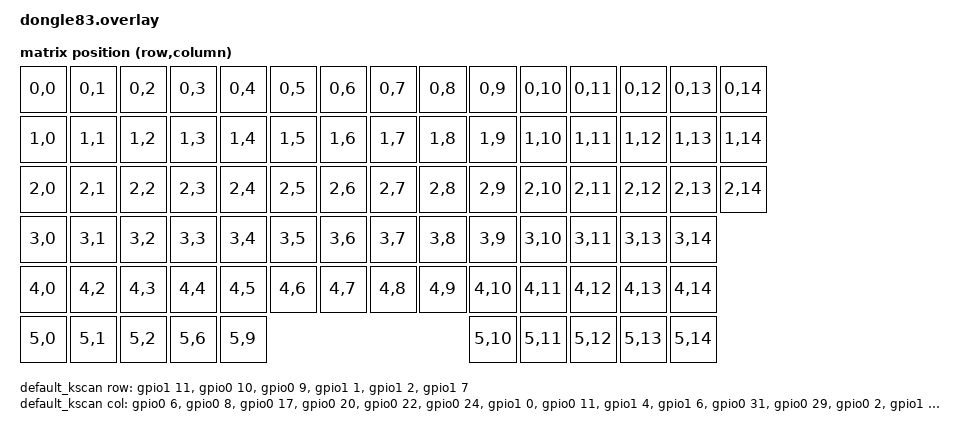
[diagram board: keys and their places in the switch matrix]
#include <dt-bindings/zmk/matrix_transform.h>

/ {
    chosen {
        zmk,kscan = &default_kscan;
        zmk,matrix_transform = &default_transform;
    };

    default_kscan: kscan {
        compatible = "zmk,kscan-gpio-matrix";
        label = "default_kscan";
        diode-direction = "col2row";
        wakeup-source;

        row-gpios
            = <&gpio1 11 (GPIO_ACTIVE_HIGH | GPIO_PULL_DOWN)>
            , <&gpio0 10 (GPIO_ACTIVE_HIGH | GPIO_PULL_DOWN)>
            , <&gpio0 9 (GPIO_ACTIVE_HIGH | GPIO_PULL_DOWN)>
            , <&gpio1 1 (GPIO_ACTIVE_HIGH | GPIO_PULL_DOWN)>
            , <&gpio1 2 (GPIO_ACTIVE_HIGH | GPIO_PULL_DOWN)>
            , <&gpio1 7 (GPIO_ACTIVE_HIGH | GPIO_PULL_DOWN)>
            ;

        col-gpios
            = <&gpio0 6 GPIO_ACTIVE_HIGH>
            , <&gpio0 8 GPIO_ACTIVE_HIGH>
            , <&gpio0 17 GPIO_ACTIVE_HIGH>
            , <&gpio0 20 GPIO_ACTIVE_HIGH>
            , <&gpio0 22 GPIO_ACTIVE_HIGH>
            , <&gpio0 24 GPIO_ACTIVE_HIGH>
            , <&gpio1 0 GPIO_ACTIVE_HIGH>
            , <&gpio0 11 GPIO_ACTIVE_HIGH>
            , <&gpio1 4 GPIO_ACTIVE_HIGH>
            , <&gpio1 6 GPIO_ACTIVE_HIGH>
            , <&gpio0 31 GPIO_ACTIVE_HIGH>
            , <&gpio0 29 GPIO_ACTIVE_HIGH>
            , <&gpio0 2 GPIO_ACTIVE_HIGH>
            , <&gpio1 15 GPIO_ACTIVE_HIGH>
            , <&gpio1 13 GPIO_ACTIVE_HIGH>
            ;


    };


	default_transform: keymap_transform_0 {
		compatible = "zmk,matrix-transform";
		columns = <15>;
		rows = <6>;
// | SW1  | SW2  | SW3  | SW4  | SW5  | SW6  |   | SW7  | SW8  | SW9  | SW10 | SW11 | SW12 | SW13 | SW14 | SW15 |
// | SW16 | SW17 | SW18 | SW19 | SW20 | SW21 |   | SW22 | SW23 | SW24 | SW25 | SW26 | SW27 | SW28 | SW29 | SW30 |
// | SW31 | SW32 | SW33 | SW34 | SW35 | SW36 |   | SW37 | SW38 | SW39 | SW40 | SW41 | SW42 | SW43 | SW44 | SW45 |
// | SW46 | SW47 | SW48 | SW49 | SW50 | SW51 |   | SW52 | SW53 | SW54 | SW55 | SW56 | SW57 | SW58 | SW59 |
// | SW60 | SW61 | SW62 | SW63 | SW64 | SW65 |   | SW66 | SW67 | SW68 | SW69 | SW70 | SW71 | SW72 | SW73 |
// | SW74 | SW75 | SW76 | SW77 | SW78 | SW79 |                        | SW80 | SW81 | SW82 | SW83 |
		map = <
RC(0,0) RC(0,1) RC(0,2) RC(0,3) RC(0,4) RC(0,5)  RC(0,6) RC(0,7) RC(0,8) RC(0,9) RC(0,10) RC(0,11) RC(0,12) RC(0,13) RC(0,14)
RC(1,0) RC(1,1) RC(1,2) RC(1,3) RC(1,4) RC(1,5)  RC(1,6) RC(1,7) RC(1,8) RC(1,9) RC(1,10) RC(1,11) RC(1,12) RC(1,13) RC(1,14)
RC(2,0) RC(2,1) RC(2,2) RC(2,3) RC(2,4) RC(2,5)  RC(2,6) RC(2,7) RC(2,8) RC(2,9) RC(2,10) RC(2,11) RC(2,12) RC(2,13) RC(2,14)
RC(3,0) RC(3,1) RC(3,2) RC(3,3) RC(3,4) RC(3,5)  RC(3,6) RC(3,7) RC(3,8) RC(3,9) RC(3,10) RC(3,11) RC(3,13) RC(3,14)
RC(4,0) RC(4,2) RC(4,3) RC(4,4) RC(4,5) RC(4,6)  RC(4,7) RC(4,8) RC(4,9) RC(4,10) RC(4,11) RC(4,12) RC(4,13) RC(4,14)
RC(5,0) RC(5,1) RC(5,2)                        RC(5,6)           RC(5,9) RC(5,10) RC(5,11) RC(5,12) RC(5,13) RC(5,14)
		>;
	};

};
